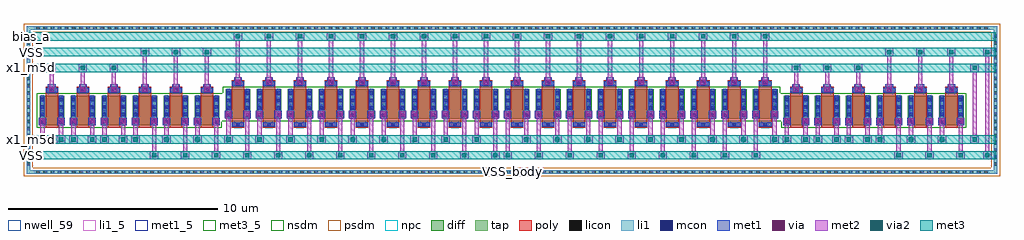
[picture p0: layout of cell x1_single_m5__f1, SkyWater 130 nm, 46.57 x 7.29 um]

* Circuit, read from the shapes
.subckt x1_single_m5__f1 VSS VSS_body bias_a x1_m5d
XM1 x1_m5d x1_m5d x1_m5d VSS_body sky130_fd_pr__nfet_01v8 w=1.4 l=0.6 m=6
XM2 VSS VSS x1_m5d VSS_body sky130_fd_pr__nfet_01v8 w=1.4 l=0.6 m=6
XM3 VSS bias_a x1_m5d VSS_body sky130_fd_pr__nfet_01v8 w=1.4 l=0.6 m=18
.ends

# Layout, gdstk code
from math import pi, radians
import gdstk
lib = gdstk.Library(unit=1e-6, precision=1e-09)
def R(c, l, rs):  # rectangles x0, y0, x1, y1
    for r in rs: c.add(gdstk.rectangle(r[:2], r[2:], *l))
def A(c, l, x, y, w, h, nx, ny, dx, dy):  # array of equal rectangles
    R(c, l, [(x+i*dx, y+j*dy, x+i*dx+w, y+j*dy+h) for i in range(nx) for j in range(ny)])
nwell_59 = (64, 59)
diff = (65, 20)
tap = (65, 44)
poly = (66, 20)
licon = (66, 44)
li1_5 = (67, 5)
li1 = (67, 20)
mcon = (67, 44)
met1_5 = (68, 5)
met1 = (68, 20)
via = (68, 44)
met2 = (69, 20)
via2 = (69, 44)
met3_5 = (70, 5)
met3 = (70, 20)
nsdm = (93, 44)
psdm = (94, 20)
npc = (95, 20)

sky130_fd_pr__nfet_01v8_ = lib.new_cell('sky130_fd_pr__nfet_01v8_RUA5M6')
R(sky130_fd_pr__nfet_01v8_, diff, [(-0.59,-0.855,0.59,0.545)])
R(sky130_fd_pr__nfet_01v8_, poly, [(-0.3,-0.985,0.3,0.985)])
A(sky130_fd_pr__nfet_01v8_, licon, -0.53, -0.75, 0.17, 0.17, 1, 4, 0, 0.34)
A(sky130_fd_pr__nfet_01v8_, licon, 0.36, -0.75, 0.17, 0.17, 1, 4, 0, 0.34)
R(sky130_fd_pr__nfet_01v8_, licon, [(-0.085,0.735,0.085,0.905)])
R(sky130_fd_pr__nfet_01v8_, li1, [(-0.53,-0.875,-0.36,0.565), (0.36,-0.875,0.53,0.565), (-0.3,0.735,0.3,0.905)])
A(sky130_fd_pr__nfet_01v8_, mcon, -0.53, -0.78, 0.17, 0.17, 1, 4, 0, 0.36)
A(sky130_fd_pr__nfet_01v8_, mcon, 0.36, -0.78, 0.17, 0.17, 1, 4, 0, 0.36)
R(sky130_fd_pr__nfet_01v8_, mcon, [(-0.085,0.735,0.085,0.905)])
R(sky130_fd_pr__nfet_01v8_, met1, [(-0.56,-0.855,-0.33,0.545), (0.33,-0.855,0.56,0.545), (-0.28,0.705,0.28,0.935)])
R(sky130_fd_pr__nfet_01v8_, nsdm, [(-0.715,-0.98,0.715,0.67)])
R(sky130_fd_pr__nfet_01v8_, npc, [(-0.185,0.635,0.185,1.005)])
sky130_fd_pr__nfet_01v8_.add(gdstk.Label('D', (-0.445,-0.155), layer=67, texttype=5))
sky130_fd_pr__nfet_01v8_.add(gdstk.Label('S', (0.445,-0.155), layer=67, texttype=5))
sky130_fd_pr__nfet_01v8_.add(gdstk.Label('G', (0,0.82), layer=67, texttype=5))

nfet_01v8_w1p4_l0p6_m6__ = lib.new_cell('nfet_01v8_W1p4_L0p6_m6__nf1_gtop_sdfull_ng')
R(nfet_01v8_w1p4_l0p6_m6__, nwell_59, [(0.05,0.78,0.15,0.88)])
R(nfet_01v8_w1p4_l0p6_m6__, met1_5, [(0.03,0.83,0.26,1.03), (0.92,0.83,1.15,1.03), (0.31,1.69,0.87,1.92)])
R(nfet_01v8_w1p4_l0p6_m6__, met1, [(0.03,0.83,0.26,1.03), (0.92,0.83,1.15,1.03), (0.31,1.69,0.87,1.92)])
nfet_01v8_w1p4_l0p6_m6__.add(gdstk.Reference(sky130_fd_pr__nfet_01v8_, (0.59,0.985)))
nfet_01v8_w1p4_l0p6_m6__.add(gdstk.Label('D', (0.145,0.93), layer=68, texttype=5))
nfet_01v8_w1p4_l0p6_m6__.add(gdstk.Label('S', (1.035,0.93), layer=68, texttype=5))
nfet_01v8_w1p4_l0p6_m6__.add(gdstk.Label('G', (0.59,1.805), layer=68, texttype=5))
nfet_01v8_w1p4_l0p6_m6__.add(gdstk.Label('B', (0.1,0.83), layer=64, texttype=59))

c_sky130_fd_pr__nfet_01v8_ = lib.new_cell('sky130_fd_pr__nfet_01v8_KCM6UP')
R(c_sky130_fd_pr__nfet_01v8_, diff, [(-0.59,-0.7,0.59,0.7)])
R(c_sky130_fd_pr__nfet_01v8_, poly, [(-0.3,-1.14,0.3,1.14)])
A(c_sky130_fd_pr__nfet_01v8_, licon, -0.53, -0.595, 0.17, 0.17, 1, 4, 0, 0.34)
A(c_sky130_fd_pr__nfet_01v8_, licon, 0.36, -0.595, 0.17, 0.17, 1, 4, 0, 0.34)
R(c_sky130_fd_pr__nfet_01v8_, licon, [(-0.085,-1.06,0.085,-0.89), (-0.085,0.89,0.085,1.06)])
R(c_sky130_fd_pr__nfet_01v8_, li1, [(-0.3,-1.06,0.3,-0.89), (-0.53,-0.72,-0.36,0.72), (0.36,-0.72,0.53,0.72), (-0.3,0.89,0.3,1.06)])
A(c_sky130_fd_pr__nfet_01v8_, mcon, -0.53, -0.625, 0.17, 0.17, 1, 4, 0, 0.36)
A(c_sky130_fd_pr__nfet_01v8_, mcon, 0.36, -0.625, 0.17, 0.17, 1, 4, 0, 0.36)
R(c_sky130_fd_pr__nfet_01v8_, mcon, [(-0.085,-1.06,0.085,-0.89), (-0.085,0.89,0.085,1.06)])
R(c_sky130_fd_pr__nfet_01v8_, met1, [(-0.28,-1.09,0.28,-0.86), (-0.56,-0.7,-0.33,0.7), (0.33,-0.7,0.56,0.7), (-0.28,0.86,0.28,1.09)])
R(c_sky130_fd_pr__nfet_01v8_, nsdm, [(-0.715,-0.825,0.715,0.825)])
R(c_sky130_fd_pr__nfet_01v8_, npc, [(-0.185,-1.16,0.185,-0.79), (-0.185,0.79,0.185,1.16)])
c_sky130_fd_pr__nfet_01v8_.add(gdstk.Label('D', (-0.445,0), layer=67, texttype=5))
c_sky130_fd_pr__nfet_01v8_.add(gdstk.Label('S', (0.445,0), layer=67, texttype=5))
c_sky130_fd_pr__nfet_01v8_.add(gdstk.Label('G', (0,0.975), layer=67, texttype=5))

nfet_01v8_w1p4_l0p6_m18_ = lib.new_cell('nfet_01v8_W1p4_L0p6_m18__nf1_gboth_sdfull_ng')
R(nfet_01v8_w1p4_l0p6_m18_, nwell_59, [(0.05,1.09,0.15,1.19)])
R(nfet_01v8_w1p4_l0p6_m18_, met1_5, [(0.03,1.14,0.26,1.34), (0.92,1.14,1.15,1.34), (0.31,2,0.87,2.23)])
R(nfet_01v8_w1p4_l0p6_m18_, met1, [(0.03,1.14,0.26,1.34), (0.92,1.14,1.15,1.34), (0.31,2,0.87,2.23)])
nfet_01v8_w1p4_l0p6_m18_.add(gdstk.Reference(c_sky130_fd_pr__nfet_01v8_, (0.59,1.14)))
nfet_01v8_w1p4_l0p6_m18_.add(gdstk.Label('D', (0.145,1.24), layer=68, texttype=5))
nfet_01v8_w1p4_l0p6_m18_.add(gdstk.Label('S', (1.035,1.24), layer=68, texttype=5))
nfet_01v8_w1p4_l0p6_m18_.add(gdstk.Label('G', (0.59,2.115), layer=68, texttype=5))
nfet_01v8_w1p4_l0p6_m18_.add(gdstk.Label('B', (0.1,1.14), layer=64, texttype=59))

x1_single_m5__f1 = lib.new_cell('x1_single_m5__f1')
R(x1_single_m5__f1, tap, [(-0.485,-2.185,45.835,-2.015), (-0.485,-2.015,-0.315,4.685), (45.665,-2.015,45.835,4.685), (-0.485,4.685,45.835,4.855)])
A(x1_single_m5__f1, licon, -0.02, -2.185, 0.17, 0.17, 134, 2, 0.34, 6.87)
A(x1_single_m5__f1, licon, -0.485, -1.81, 0.17, 0.17, 1, 19, 0, 0.34)
A(x1_single_m5__f1, licon, 45.665, -1.81, 0.17, 0.17, 1, 19, 0, 0.34)
R(x1_single_m5__f1, li1_5, [(22.625,-2.15,22.725,-2.05)])
R(x1_single_m5__f1, li1, [(-0.485,-2.185,45.835,-2.015), (-0.485,-2.015,-0.315,4.685), (45.665,-2.015,45.835,4.685), (-0.485,4.685,45.835,4.855)])
A(x1_single_m5__f1, met1, 0.535, 1.72, 0.36, 0.36, 6, 1, 1.48, 0)
A(x1_single_m5__f1, met1, 36.055, 1.72, 0.36, 0.36, 6, 1, 1.48, 0)
A(x1_single_m5__f1, met1, 9.415, 2.05, 0.36, 0.36, 18, 1, 1.48, 0)
R(x1_single_m5__f1, met1, [(0.09,0.13,0.45,0.49), (0.98,0.13,1.34,0.49), (1.57,0.13,1.93,0.49), (2.46,0.13,2.82,0.49), (3.05,0.13,3.41,0.49), (3.94,0.13,4.3,0.49), (4.53,0.13,4.89,0.49), (5.42,0.13,5.78,0.49), (6.01,0.13,6.37,0.49), (6.9,0.13,7.26,0.49), (7.49,0.13,7.85,0.49), (8.38,0.13,8.74,0.49), (35.61,0.13,35.97,0.49), (36.5,0.13,36.86,0.49), (37.09,0.13,37.45,0.49), (37.98,0.13,38.34,0.49), (38.57,0.13,38.93,0.49), (39.46,0.13,39.82,0.49), (40.05,0.13,40.41,0.49), (40.94,0.13,41.3,0.49), (41.53,0.13,41.89,0.49), (42.42,0.13,42.78,0.49), (43.01,0.13,43.37,0.49), (43.9,0.13,44.26,0.49), (8.97,0.46,9.33,0.82), (9.86,0.46,10.22,0.82), (10.45,0.46,10.81,0.82), (11.34,0.46,11.7,0.82), (11.93,0.46,12.29,0.82), (12.82,0.46,13.18,0.82), (13.41,0.46,13.77,0.82), (14.3,0.46,14.66,0.82), (14.89,0.46,15.25,0.82), (15.78,0.46,16.14,0.82), (16.37,0.46,16.73,0.82), (17.26,0.46,17.62,0.82), (17.85,0.46,18.21,0.82), (18.74,0.46,19.1,0.82), (19.33,0.46,19.69,0.82), (20.22,0.46,20.58,0.82), (20.81,0.46,21.17,0.82), (21.7,0.46,22.06,0.82), (22.29,0.46,22.65,0.82), (23.18,0.46,23.54,0.82), (23.77,0.46,24.13,0.82), (24.66,0.46,25.02,0.82), (25.25,0.46,25.61,0.82), (26.14,0.46,26.5,0.82), (26.73,0.46,27.09,0.82), (27.62,0.46,27.98,0.82), (28.21,0.46,28.57,0.82), (29.1,0.46,29.46,0.82), (29.69,0.46,30.05,0.82), (30.58,0.46,30.94,0.82), (31.17,0.46,31.53,0.82), (32.06,0.46,32.42,0.82), (32.65,0.46,33.01,0.82), (33.54,0.46,33.9,0.82), (34.13,0.46,34.49,0.82), (35.02,0.46,35.38,0.82)])
A(x1_single_m5__f1, via, 0.64, 1.825, 0.15, 0.15, 6, 1, 1.48, 0)
A(x1_single_m5__f1, via, 36.16, 1.825, 0.15, 0.15, 6, 1, 1.48, 0)
A(x1_single_m5__f1, via, 9.52, 2.155, 0.15, 0.15, 18, 1, 1.48, 0)
R(x1_single_m5__f1, via, [(0.195,0.235,0.345,0.385), (1.085,0.235,1.235,0.385), (1.675,0.235,1.825,0.385), (2.565,0.235,2.715,0.385), (3.155,0.235,3.305,0.385), (4.045,0.235,4.195,0.385), (4.635,0.235,4.785,0.385), (5.525,0.235,5.675,0.385), (6.115,0.235,6.265,0.385), (7.005,0.235,7.155,0.385), (7.595,0.235,7.745,0.385), (8.485,0.235,8.635,0.385), (35.715,0.235,35.865,0.385), (36.605,0.235,36.755,0.385), (37.195,0.235,37.345,0.385), (38.085,0.235,38.235,0.385), (38.675,0.235,38.825,0.385), (39.565,0.235,39.715,0.385), (40.155,0.235,40.305,0.385), (41.045,0.235,41.195,0.385), (41.635,0.235,41.785,0.385), (42.525,0.235,42.675,0.385), (43.115,0.235,43.265,0.385), (44.005,0.235,44.155,0.385), (9.075,0.565,9.225,0.715), (9.965,0.565,10.115,0.715), (10.555,0.565,10.705,0.715), (11.445,0.565,11.595,0.715), (12.035,0.565,12.185,0.715), (12.925,0.565,13.075,0.715), (13.515,0.565,13.665,0.715), (14.405,0.565,14.555,0.715), (14.995,0.565,15.145,0.715), (15.885,0.565,16.035,0.715), (16.475,0.565,16.625,0.715), (17.365,0.565,17.515,0.715), (17.955,0.565,18.105,0.715), (18.845,0.565,18.995,0.715), (19.435,0.565,19.585,0.715), (20.325,0.565,20.475,0.715), (20.915,0.565,21.065,0.715), (21.805,0.565,21.955,0.715), (22.395,0.565,22.545,0.715), (23.285,0.565,23.435,0.715), (23.875,0.565,24.025,0.715), (24.765,0.565,24.915,0.715), (25.355,0.565,25.505,0.715), (26.245,0.565,26.395,0.715), (26.835,0.565,26.985,0.715), (27.725,0.565,27.875,0.715), (28.315,0.565,28.465,0.715), (29.205,0.565,29.355,0.715), (29.795,0.565,29.945,0.715), (30.685,0.565,30.835,0.715), (31.275,0.565,31.425,0.715), (32.165,0.565,32.315,0.715), (32.755,0.565,32.905,0.715), (33.645,0.565,33.795,0.715), (34.235,0.565,34.385,0.715), (35.125,0.565,35.275,0.715)])
A(x1_single_m5__f1, met2, 5.4, -1.5, 0.4, 0.4, 12, 1, 1.48, 0)
A(x1_single_m5__f1, met2, 22.27, -1.5, 0.4, 0.4, 9, 1, 1.48, 0)
A(x1_single_m5__f1, met2, 40.92, -1.5, 0.4, 0.4, 3, 1, 1.48, 0)
A(x1_single_m5__f1, met2, 5.5, -1.1, 0.2, 1.25, 3, 1, 1.48, 0)
A(x1_single_m5__f1, met2, 9.94, -1.1, 0.2, 1.58, 9, 1, 1.48, 0)
A(x1_single_m5__f1, met2, 22.37, -1.1, 0.2, 1.58, 9, 1, 1.48, 0)
A(x1_single_m5__f1, met2, 41.02, -1.1, 0.2, 1.25, 3, 1, 1.48, 0)
A(x1_single_m5__f1, met2, 4.51, -0.75, 0.4, 0.4, 12, 1, 1.48, 0)
A(x1_single_m5__f1, met2, 23.16, -0.75, 0.4, 0.4, 9, 1, 1.48, 0)
A(x1_single_m5__f1, met2, 40.03, -0.75, 0.4, 0.4, 3, 1, 1.48, 0)
A(x1_single_m5__f1, met2, 4.61, -0.35, 0.2, 0.5, 3, 1, 1.48, 0)
A(x1_single_m5__f1, met2, 9.05, -0.35, 0.2, 0.83, 9, 1, 1.48, 0)
A(x1_single_m5__f1, met2, 23.26, -0.35, 0.2, 0.83, 9, 1, 1.48, 0)
A(x1_single_m5__f1, met2, 40.13, -0.35, 0.2, 0.5, 3, 1, 1.48, 0)
A(x1_single_m5__f1, met2, 0.585, 1.74, 0.26, 0.32, 6, 1, 1.48, 0)
A(x1_single_m5__f1, met2, 36.105, 1.74, 0.26, 0.32, 6, 1, 1.48, 0)
A(x1_single_m5__f1, met2, 0.615, 2.06, 0.2, 0.61, 3, 1, 1.48, 0)
A(x1_single_m5__f1, met2, 5.055, 2.06, 0.2, 1.36, 3, 1, 1.48, 0)
A(x1_single_m5__f1, met2, 36.135, 2.06, 0.2, 0.61, 3, 1, 1.48, 0)
A(x1_single_m5__f1, met2, 40.575, 2.06, 0.2, 1.36, 3, 1, 1.48, 0)
A(x1_single_m5__f1, met2, 9.465, 2.07, 0.26, 0.32, 18, 1, 1.48, 0)
A(x1_single_m5__f1, met2, 9.495, 2.39, 0.2, 1.78, 18, 1, 1.48, 0)
A(x1_single_m5__f1, met2, 0.515, 2.67, 0.4, 0.4, 3, 1, 1.48, 0)
A(x1_single_m5__f1, met2, 36.035, 2.67, 0.4, 0.4, 3, 1, 1.48, 0)
A(x1_single_m5__f1, met2, 4.955, 3.42, 0.4, 0.4, 3, 1, 1.48, 0)
A(x1_single_m5__f1, met2, 40.475, 3.42, 0.4, 0.4, 3, 1, 1.48, 0)
A(x1_single_m5__f1, met2, 9.395, 4.17, 0.4, 0.4, 18, 1, 1.48, 0)
R(x1_single_m5__f1, met2, [(45.15,-1.5,45.55,-1.1), (45.25,-1.1,45.45,3.42), (0.07,-0.75,0.47,-0.35), (0.96,-0.75,1.36,-0.35), (1.55,-0.75,1.95,-0.35), (2.44,-0.75,2.84,-0.35), (3.03,-0.75,3.43,-0.35), (3.92,-0.75,4.32,-0.35), (35.59,-0.75,35.99,-0.35), (36.48,-0.75,36.88,-0.35), (37.07,-0.75,37.47,-0.35), (37.96,-0.75,38.36,-0.35), (38.55,-0.75,38.95,-0.35), (39.44,-0.75,39.84,-0.35), (44.55,-0.75,44.95,-0.35), (0.17,-0.35,0.37,0.15), (1.06,-0.35,1.26,0.15), (1.65,-0.35,1.85,0.15), (2.54,-0.35,2.74,0.15), (3.13,-0.35,3.33,0.15), (4.02,-0.35,4.22,0.15), (35.69,-0.35,35.89,0.15), (36.58,-0.35,36.78,0.15), (37.17,-0.35,37.37,0.15), (38.06,-0.35,38.26,0.15), (38.65,-0.35,38.85,0.15), (39.54,-0.35,39.74,0.15), (44.65,-0.35,44.85,2.67), (0.14,0.15,0.4,0.47), (1.03,0.15,1.29,0.47), (1.62,0.15,1.88,0.47), (2.51,0.15,2.77,0.47), (3.1,0.15,3.36,0.47), (3.99,0.15,4.25,0.47), (4.58,0.15,4.84,0.47), (5.47,0.15,5.73,0.47), (6.06,0.15,6.32,0.47), (6.95,0.15,7.21,0.47), (7.54,0.15,7.8,0.47), (8.43,0.15,8.69,0.47), (35.66,0.15,35.92,0.47), (36.55,0.15,36.81,0.47), (37.14,0.15,37.4,0.47), (38.03,0.15,38.29,0.47), (38.62,0.15,38.88,0.47), (39.51,0.15,39.77,0.47), (40.1,0.15,40.36,0.47), (40.99,0.15,41.25,0.47), (41.58,0.15,41.84,0.47), (42.47,0.15,42.73,0.47), (43.06,0.15,43.32,0.47), (43.95,0.15,44.21,0.47), (9.02,0.48,9.28,0.8), (9.91,0.48,10.17,0.8), (10.5,0.48,10.76,0.8), (11.39,0.48,11.65,0.8), (11.98,0.48,12.24,0.8), (12.87,0.48,13.13,0.8), (13.46,0.48,13.72,0.8), (14.35,0.48,14.61,0.8), (14.94,0.48,15.2,0.8), (15.83,0.48,16.09,0.8), (16.42,0.48,16.68,0.8), (17.31,0.48,17.57,0.8), (17.9,0.48,18.16,0.8), (18.79,0.48,19.05,0.8), (19.38,0.48,19.64,0.8), (20.27,0.48,20.53,0.8), (20.86,0.48,21.12,0.8), (21.75,0.48,22.01,0.8), (22.34,0.48,22.6,0.8), (23.23,0.48,23.49,0.8), (23.82,0.48,24.08,0.8), (24.71,0.48,24.97,0.8), (25.3,0.48,25.56,0.8), (26.19,0.48,26.45,0.8), (26.78,0.48,27.04,0.8), (27.67,0.48,27.93,0.8), (28.26,0.48,28.52,0.8), (29.15,0.48,29.41,0.8), (29.74,0.48,30,0.8), (30.63,0.48,30.89,0.8), (31.22,0.48,31.48,0.8), (32.11,0.48,32.37,0.8), (32.7,0.48,32.96,0.8), (33.59,0.48,33.85,0.8), (34.18,0.48,34.44,0.8), (35.07,0.48,35.33,0.8), (44.55,2.67,44.95,3.07), (45.15,3.42,45.55,3.82)])
A(x1_single_m5__f1, via2, 5.5, -1.4, 0.2, 0.2, 12, 1, 1.48, 0)
A(x1_single_m5__f1, via2, 22.37, -1.4, 0.2, 0.2, 9, 1, 1.48, 0)
A(x1_single_m5__f1, via2, 41.02, -1.4, 0.2, 0.2, 3, 1, 1.48, 0)
A(x1_single_m5__f1, via2, 4.61, -0.65, 0.2, 0.2, 12, 1, 1.48, 0)
A(x1_single_m5__f1, via2, 23.26, -0.65, 0.2, 0.2, 9, 1, 1.48, 0)
A(x1_single_m5__f1, via2, 40.13, -0.65, 0.2, 0.2, 3, 1, 1.48, 0)
A(x1_single_m5__f1, via2, 0.615, 2.77, 0.2, 0.2, 3, 1, 1.48, 0)
A(x1_single_m5__f1, via2, 36.135, 2.77, 0.2, 0.2, 3, 1, 1.48, 0)
A(x1_single_m5__f1, via2, 5.055, 3.52, 0.2, 0.2, 3, 1, 1.48, 0)
A(x1_single_m5__f1, via2, 40.575, 3.52, 0.2, 0.2, 3, 1, 1.48, 0)
A(x1_single_m5__f1, via2, 9.495, 4.27, 0.2, 0.2, 18, 1, 1.48, 0)
R(x1_single_m5__f1, via2, [(45.25,-1.4,45.45,-1.2), (0.17,-0.65,0.37,-0.45), (1.06,-0.65,1.26,-0.45), (1.65,-0.65,1.85,-0.45), (2.54,-0.65,2.74,-0.45), (3.13,-0.65,3.33,-0.45), (4.02,-0.65,4.22,-0.45), (35.69,-0.65,35.89,-0.45), (36.58,-0.65,36.78,-0.45), (37.17,-0.65,37.37,-0.45), (38.06,-0.65,38.26,-0.45), (38.65,-0.65,38.85,-0.45), (39.54,-0.65,39.74,-0.45), (44.65,-0.65,44.85,-0.45), (44.65,2.77,44.85,2.97), (45.25,3.52,45.45,3.72)])
A(x1_single_m5__f1, met3_5, -0.3, 2.82, 0.1, 0.1, 1, 3, 0, 0.75)
R(x1_single_m5__f1, met3_5, [(-0.3,-1.35,-0.2,-1.25), (-0.3,-0.6,-0.2,-0.5)])
A(x1_single_m5__f1, met3, -0.4, 2.67, 46.15, 0.4, 1, 3, 0, 0.75)
R(x1_single_m5__f1, met3, [(-0.4,-1.5,45.75,-1.1), (-0.4,-0.75,45.75,-0.35)])
A(x1_single_m5__f1, nsdm, 1.435, 0.005, 0.05, 1.65, 5, 1, 1.48, 0)
A(x1_single_m5__f1, nsdm, 36.955, 0.005, 0.05, 1.65, 5, 1, 1.48, 0)
A(x1_single_m5__f1, nsdm, 10.315, 0.315, 0.05, 1.65, 17, 1, 1.48, 0)
R(x1_single_m5__f1, nsdm, [(8.835,0.315,8.885,1.655), (35.475,0.315,35.525,1.655)])
R(x1_single_m5__f1, psdm, [(-0.61,-2.31,45.96,-1.89), (-0.61,-1.89,-0.19,4.56), (45.54,-1.89,45.96,4.56), (-0.61,4.56,45.96,4.98)])
x1_single_m5__f1.add(gdstk.Reference(nfet_01v8_w1p4_l0p6_m6__, (43.05,0)))
x1_single_m5__f1.add(gdstk.Reference(nfet_01v8_w1p4_l0p6_m6__, (41.57,0)))
x1_single_m5__f1.add(gdstk.Reference(nfet_01v8_w1p4_l0p6_m6__, (40.09,0)))
x1_single_m5__f1.add(gdstk.Reference(nfet_01v8_w1p4_l0p6_m6__, (38.61,0)))
x1_single_m5__f1.add(gdstk.Reference(nfet_01v8_w1p4_l0p6_m6__, (37.13,0)))
x1_single_m5__f1.add(gdstk.Reference(nfet_01v8_w1p4_l0p6_m6__, (35.65,0)))
x1_single_m5__f1.add(gdstk.Reference(nfet_01v8_w1p4_l0p6_m18_, (35.35,0), rotation=pi, x_reflection=True))
x1_single_m5__f1.add(gdstk.Reference(nfet_01v8_w1p4_l0p6_m18_, (33.87,0), rotation=pi, x_reflection=True))
x1_single_m5__f1.add(gdstk.Reference(nfet_01v8_w1p4_l0p6_m18_, (32.39,0), rotation=pi, x_reflection=True))
x1_single_m5__f1.add(gdstk.Reference(nfet_01v8_w1p4_l0p6_m18_, (30.91,0), rotation=pi, x_reflection=True))
x1_single_m5__f1.add(gdstk.Reference(nfet_01v8_w1p4_l0p6_m18_, (29.43,0), rotation=pi, x_reflection=True))
x1_single_m5__f1.add(gdstk.Reference(nfet_01v8_w1p4_l0p6_m18_, (27.95,0), rotation=pi, x_reflection=True))
x1_single_m5__f1.add(gdstk.Reference(nfet_01v8_w1p4_l0p6_m18_, (26.47,0), rotation=pi, x_reflection=True))
x1_single_m5__f1.add(gdstk.Reference(nfet_01v8_w1p4_l0p6_m18_, (24.99,0), rotation=pi, x_reflection=True))
x1_single_m5__f1.add(gdstk.Reference(nfet_01v8_w1p4_l0p6_m18_, (23.51,0), rotation=pi, x_reflection=True))
x1_single_m5__f1.add(gdstk.Reference(nfet_01v8_w1p4_l0p6_m18_, (20.85,0)))
x1_single_m5__f1.add(gdstk.Reference(nfet_01v8_w1p4_l0p6_m18_, (19.37,0)))
x1_single_m5__f1.add(gdstk.Reference(nfet_01v8_w1p4_l0p6_m18_, (17.89,0)))
x1_single_m5__f1.add(gdstk.Reference(nfet_01v8_w1p4_l0p6_m18_, (16.41,0)))
x1_single_m5__f1.add(gdstk.Reference(nfet_01v8_w1p4_l0p6_m18_, (14.93,0)))
x1_single_m5__f1.add(gdstk.Reference(nfet_01v8_w1p4_l0p6_m18_, (13.45,0)))
x1_single_m5__f1.add(gdstk.Reference(nfet_01v8_w1p4_l0p6_m18_, (11.97,0)))
x1_single_m5__f1.add(gdstk.Reference(nfet_01v8_w1p4_l0p6_m18_, (10.49,0)))
x1_single_m5__f1.add(gdstk.Reference(nfet_01v8_w1p4_l0p6_m18_, (9.01,0)))
x1_single_m5__f1.add(gdstk.Reference(nfet_01v8_w1p4_l0p6_m6__, (7.53,0)))
x1_single_m5__f1.add(gdstk.Reference(nfet_01v8_w1p4_l0p6_m6__, (6.05,0)))
x1_single_m5__f1.add(gdstk.Reference(nfet_01v8_w1p4_l0p6_m6__, (4.57,0)))
x1_single_m5__f1.add(gdstk.Reference(nfet_01v8_w1p4_l0p6_m6__, (3.09,0)))
x1_single_m5__f1.add(gdstk.Reference(nfet_01v8_w1p4_l0p6_m6__, (1.61,0)))
x1_single_m5__f1.add(gdstk.Reference(nfet_01v8_w1p4_l0p6_m6__, (0.13,0)))
x1_single_m5__f1.add(gdstk.Label('x1_m5d', (-0.25,2.87), layer=70, texttype=5))
x1_single_m5__f1.add(gdstk.Label('VSS', (-0.25,3.62), layer=70, texttype=5))
x1_single_m5__f1.add(gdstk.Label('bias_a', (-0.25,4.37), layer=70, texttype=5))
x1_single_m5__f1.add(gdstk.Label('x1_m5d', (-0.25,-0.55), layer=70, texttype=5))
x1_single_m5__f1.add(gdstk.Label('VSS', (-0.25,-1.3), layer=70, texttype=5))
x1_single_m5__f1.add(gdstk.Label('VSS_body', (22.675,-2.1), layer=67, texttype=5))

lib.write_gds('x1_single_m5__f1.gds')
